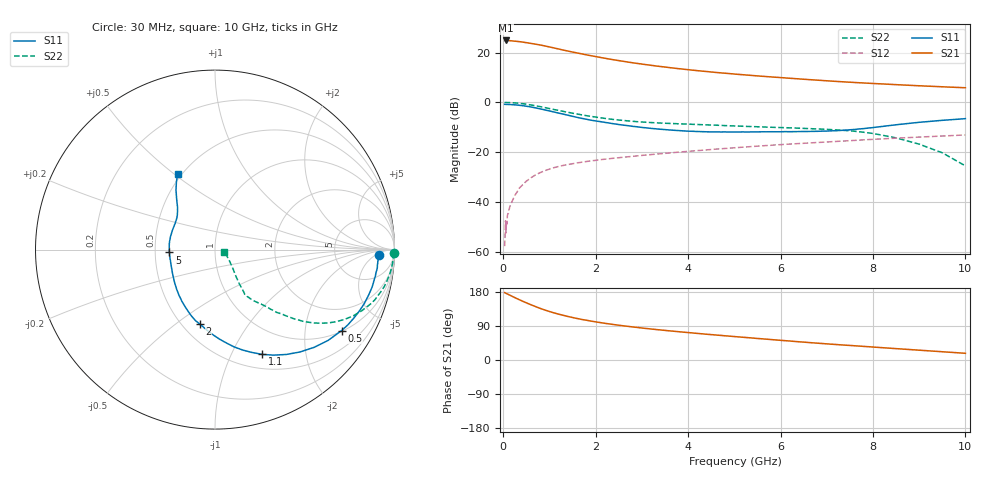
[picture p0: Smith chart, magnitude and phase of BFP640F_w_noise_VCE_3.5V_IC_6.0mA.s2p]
! Infineon Technologies  Discrete & RF Semiconductors
! BFP640F
! VCE =  3.5 V,  IC =  6.0 mA
! Common Emitter S-Parameters:  Apr 2013
# GHz  S  MA  R  50
!  f  S11  S21  S12  S22
! GHz  MAG  ANG  MAG  ANG  MAG  ANG  MAG  ANG
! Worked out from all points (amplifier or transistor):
!   99 points, 30 MHz to 10 GHz, reference 50 ohm
!   highest |S21| = 24.9 dB at 50 MHz (marker M1)
!   |S21| within 3 dB of that: start of sweep to 1.096 GHz
!   unconditionally stable (mu >= 1): 3.872 GHz to end of sweep
!   at 350 MHz: K = 0.12, MSG = 29.4 dB, |S12| = -34.4 dB
!   at 3.5 GHz: K = 0.97, MSG = 17.3 dB, |S12| = -20.5 dB
!   at 10 GHz: K = 1.10, MAG = 7.6 dB, |S12| = -13.1 dB
!   lowest NFmin = 0.54 dB at 450 MHz
!   S11 on the Smith chart (normalised r, x): 30 MHz: 20, -7; 500 MHz: 1.03, -3.11; 1.1 GHz: 0.67, -1.32; 2 GHz: 0.61, -0.62; 5 GHz: 0.59, -0.02; 10 GHz: 0.48, +0.52
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0.03  0.9136 -1.9  17.28 177.9  0.0013 78.9  0.9949 -1.1
0.04  0.9135 -2.7  17.23 177.4  0.0021 72.2  0.9945 -1.5
0.05  0.9124 -3.3  17.49 176.8  0.0042 120.1  0.9953 -1.8
0.06  0.9095 -4.0  17.39 176.0  0.0024 81.6  0.9938 -2.4
0.07  0.9098 -4.7  17.47 175.4  0.004 92.3  0.9943 -2.7
0.13  0.9058 -8.8  17.38 171.8  0.0072 84.2  0.9898 -5.2
0.3  0.8844 -19.9  16.73 161.8  0.0159 81.0  0.9673 -11.9
0.5  0.8373 -32.6  15.8 150.9  0.0262 74.3  0.9187 -19.2
0.7  0.7757 -44.6  14.72 140.9  0.0351 69.3  0.8553 -25.5
0.8  0.7406 -50.4  14.17 136.2  0.0389 66.6  0.8217 -28.2
0.9  0.7065 -55.8  13.58 131.9  0.0426 64.6  0.7863 -30.7
1.1  0.64 -65.8  12.36 124.3  0.049 60.8  0.7184 -34.8
1.4  0.5523 -78.9  10.71 114.9  0.0566 56.7  0.6322 -39.2
1.7  0.4777 -90.8  9.401 107.0  0.063 53.9  0.5615 -42.1
2  0.4237 -101.4  8.3 100.7  0.0686 52.1  0.507 -44.5
2.6  0.3488 -120.5  6.663 90.2  0.0794 49.8  0.4339 -47.9
3.4  0.2889 -141.5  5.25 79.3  0.0931 48.1  0.3847 -50.8
5  0.2547 -176.4  3.705 61.9  0.1227 44.2  0.3366 -54.3
5.1  0.2549 -178.2  3.641 60.9  0.1246 44.0  0.3342 -54.4
6.7  0.2617 152.5  2.83 45.3  0.1547 38.5  0.2953 -56.3
8.5  0.3553 127.0  2.269 30.0  0.1913 31.4  0.1941 -52.3
10  0.4712 116.1  1.965 17.7  0.222 24.4  0.0532 -11.9
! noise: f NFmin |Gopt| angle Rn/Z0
0.45  0.54  0.33  8  0.09
0.9  0.55  0.33  19  0.1
1.5  0.59  0.31  27  0.1
1.9  0.61  0.29  43  0.11
2.4  0.65  0.27  56  0.11
3.5  0.75  0.23  79  0.13
5.5  0.97  0.18  155  0.16
10  1.63  0.43  -103  0.34
